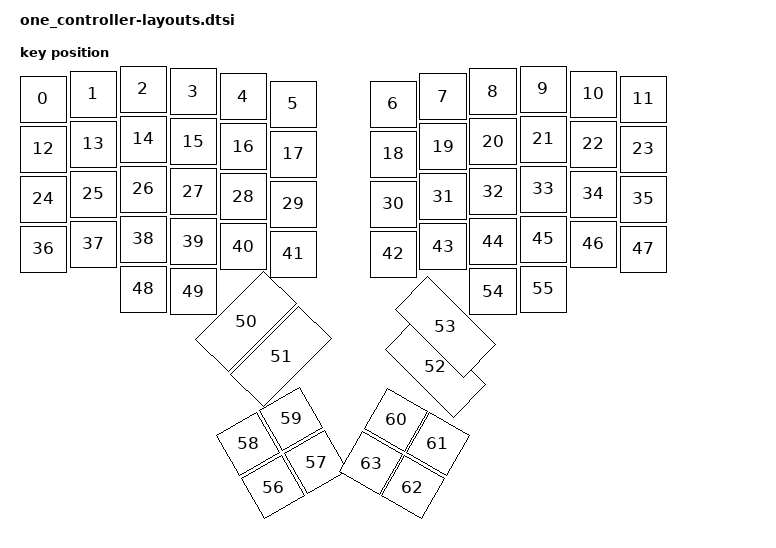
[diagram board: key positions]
#include <physical_layouts.dtsi>

/ {
    physical_layout0: physical_layout_0 {
        compatible = "zmk,physical-layout";
        display-name = "Default";

        kscan = <&kscan0>;
        transform = <&matrix_transform>;

        keys  //                     w   h    x    y     rot    rx    ry
            = <&key_physical_attrs 100 100    0   20       0     0     0>
            , <&key_physical_attrs 100 100  100   10       0     0     0>
            , <&key_physical_attrs 100 100  200    0       0     0     0>
            , <&key_physical_attrs 100 100  300    5       0     0     0>
            , <&key_physical_attrs 100 100  400   15       0     0     0>
            , <&key_physical_attrs 100 100  500   30       0     0     0>
            , <&key_physical_attrs 100 100  700   30       0     0     0>
            , <&key_physical_attrs 100 100  800   15       0     0     0>
            , <&key_physical_attrs 100 100  900    5       0     0     0>
            , <&key_physical_attrs 100 100 1000    0       0     0     0>
            , <&key_physical_attrs 100 100 1100   10       0     0     0>
            , <&key_physical_attrs 100 100 1200   20       0     0     0>
            , <&key_physical_attrs 100 100    0  120       0     0     0>
            , <&key_physical_attrs 100 100  100  110       0     0     0>
            , <&key_physical_attrs 100 100  200  100       0     0     0>
            , <&key_physical_attrs 100 100  300  105       0     0     0>
            , <&key_physical_attrs 100 100  400  115       0     0     0>
            , <&key_physical_attrs 100 100  500  130       0     0     0>
            , <&key_physical_attrs 100 100  700  130       0     0     0>
            , <&key_physical_attrs 100 100  800  115       0     0     0>
            , <&key_physical_attrs 100 100  900  105       0     0     0>
            , <&key_physical_attrs 100 100 1000  100       0     0     0>
            , <&key_physical_attrs 100 100 1100  110       0     0     0>
            , <&key_physical_attrs 100 100 1200  120       0     0     0>
            , <&key_physical_attrs 100 100    0  220       0     0     0>
            , <&key_physical_attrs 100 100  100  210       0     0     0>
            , <&key_physical_attrs 100 100  200  200       0     0     0>
            , <&key_physical_attrs 100 100  300  205       0     0     0>
            , <&key_physical_attrs 100 100  400  215       0     0     0>
            , <&key_physical_attrs 100 100  500  230       0     0     0>
            , <&key_physical_attrs 100 100  700  230       0     0     0>
            , <&key_physical_attrs 100 100  800  215       0     0     0>
            , <&key_physical_attrs 100 100  900  205       0     0     0>
            , <&key_physical_attrs 100 100 1000  200       0     0     0>
            , <&key_physical_attrs 100 100 1100  210       0     0     0>
            , <&key_physical_attrs 100 100 1200  220       0     0     0>
            , <&key_physical_attrs 100 100    0  320       0     0     0>
            , <&key_physical_attrs 100 100  100  310       0     0     0>
            , <&key_physical_attrs 100 100  200  300       0     0     0>
            , <&key_physical_attrs 100 100  300  305       0     0     0>
            , <&key_physical_attrs 100 100  400  315       0     0     0>
            , <&key_physical_attrs 100 100  500  330       0     0     0>
            , <&key_physical_attrs 100 100  700  330       0     0     0>
            , <&key_physical_attrs 100 100  800  315       0     0     0>
            , <&key_physical_attrs 100 100  900  305       0     0     0>
            , <&key_physical_attrs 100 100 1000  300       0     0     0>
            , <&key_physical_attrs 100 100 1100  310       0     0     0>
            , <&key_physical_attrs 100 100 1200  320       0     0     0>
            , <&key_physical_attrs 100 100  200  400       0     0     0>
            , <&key_physical_attrs 100 100  300  405       0     0     0>
            , <&key_physical_attrs 200 100  350  550   31500   350   550>
            , <&key_physical_attrs 200 100  420  620   31500   420   620>
            , <&key_physical_attrs 200 100  800  500  328500   800   500>
            , <&key_physical_attrs 200 100  820  420  328500   820   420>
            , <&key_physical_attrs 100 100  900  405       0     0     0>
            , <&key_physical_attrs 100 100 1000  400       0     0     0>
            , <&key_physical_attrs 100 100    0  920   33000    50    50>
            , <&key_physical_attrs 100 100  100  920   33000    50    50>
            , <&key_physical_attrs 100 100    0  820   33000    50    50>
            , <&key_physical_attrs 100 100  100  820   33000    50    50>
            , <&key_physical_attrs 100 100 1090  770  327000  1150    50>
            , <&key_physical_attrs 100 100 1200  820  327000  1250    50>
            , <&key_physical_attrs 100 100 1200  920  327000  1250    50>
            , <&key_physical_attrs 100 100 1090  870  327000  1150    50>
            ;
    };
};
